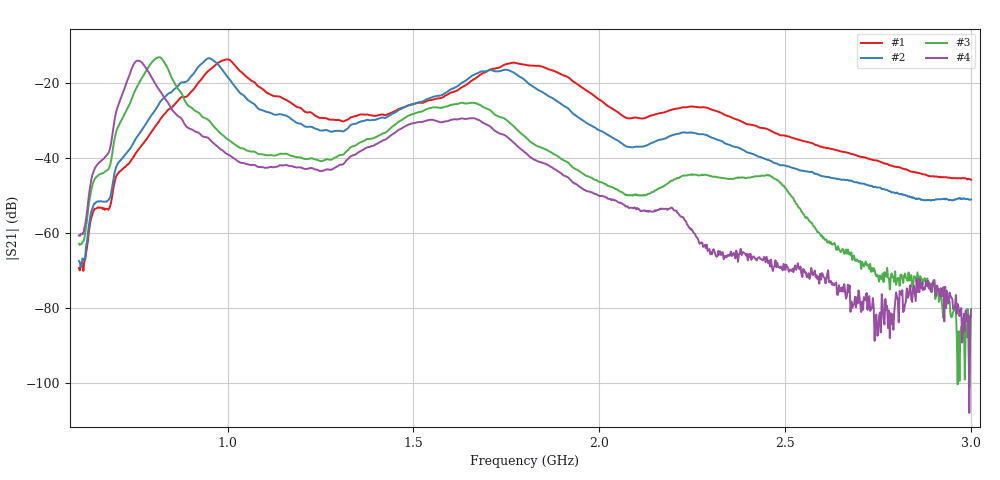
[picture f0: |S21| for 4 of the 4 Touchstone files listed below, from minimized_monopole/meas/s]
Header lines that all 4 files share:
#  HZ  S  RI  R  50.00
! Rohde & Schwarz ZVB8 2Ports - Version 2.81 - 1145.1010k08 SN: 100113
! Measurements: S11 S21 S12 S22
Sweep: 600 MHz to 3 GHz
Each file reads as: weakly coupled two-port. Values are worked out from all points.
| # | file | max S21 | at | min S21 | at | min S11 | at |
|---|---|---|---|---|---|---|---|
| 1 | lasse_4_0_0_0.s2p | -13.77 dB | 1.001 GHz | -70.1 dB | 612 MHz | -25.1 dB | 979.6 MHz |
| 2 | lasse_c_0_0_0.s2p | -13.45 dB | 950.8 MHz | -69.0 dB | 607.2 MHz | -14.9 dB | 912.3 MHz |
| 3 | lasse_f_f_a_0.s2p | -13.19 dB | 816.2 MHz | -101.2 dB | 2.995 GHz | -21.8 dB | 775.4 MHz |
| 4 | lasse_f_f_f_9.s2p | -14.10 dB | 758.6 MHz | -108.0 dB | 2.995 GHz | -31.6 dB | 780.2 MHz |
